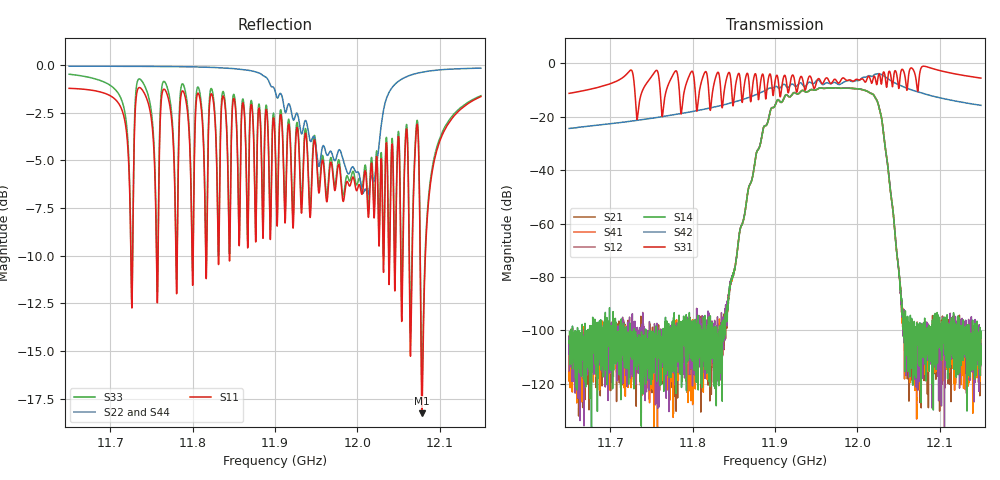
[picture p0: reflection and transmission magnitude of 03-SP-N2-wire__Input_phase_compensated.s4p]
#  HZ  S  RI  R  50.00
! Rohde & Schwarz ZVA24 4Ports - Version 2.92 - 1145.1110k26 SN: 100307
! Date: 2021-03-18 15:36:35
! Measurements: S11 S12 S13 S14 S21 S22 S23 S24 S31 S32 S33 S34 S41 S42 S43 S44
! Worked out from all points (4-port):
!   3334 points, 11.65 GHz to 12.15 GHz, reference 50 ohm
!   strongest paths, dB at 11.65 GHz, 11.775 GHz, 11.9 GHz, 12.025 GHz, 12.15 GHz:
!     S31: -11.2, -5.0, -6.8, -5.4, -5.5
!     S42: -24.4, -19.4, -8.7, -3.9, -15.7
!     S14: -104.0, -106.8, -15.8, -14.9, -105.7
!     S12: -115.1, -104.1, -15.7, -14.9, -102.0
!     S41: -107.2, -97.7, -15.8, -15.0, -107.7
!     S21: -105.7, -100.7, -15.8, -14.9, -111.3
!   lowest |S11| = -18.3 dB at 12.078 GHz (marker M1), VSWR 1.28, Z = 54.8 + j11.9 ohm
!   |S11| at or under -10 dB: 12.05268 GHz to 12.05517 GHz (2.491 MHz wide, 0.0207 % of centre); 12.06291 GHz to 12.06648 GHz (3.567 MHz wide, 0.0296 % of centre); 12.07623 GHz to 12.08252 GHz (6.294 MHz wide, 0.0521 % of centre)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
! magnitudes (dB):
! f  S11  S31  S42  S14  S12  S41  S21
! 11.65 GHz  -1.2  -11.2  -24.4  -104.0  -115.1  -107.2  -105.7
! 11.847 GHz  -4.0  -8.3  -14.8  -81.2  -80.5  -81.1  -81.7
! 11.896 GHz  -5.8  -6.5  -9.3  -16.8  -16.7  -16.8  -16.7
! 11.973 GHz  -6.5  -6.0  -7.2  -9.2  -9.1  -9.2  -9.2
! 12.023 GHz  -4.8  -7.9  -4.0  -13.6  -13.6  -13.6  -13.6
! 12.078 GHz  -18.3  -1.3  -11.2  -102.7  -106.4  -102.4  -106.3
! 12.15 GHz  -1.6  -5.5  -15.7  -105.7  -102.0  -107.7  -111.3
